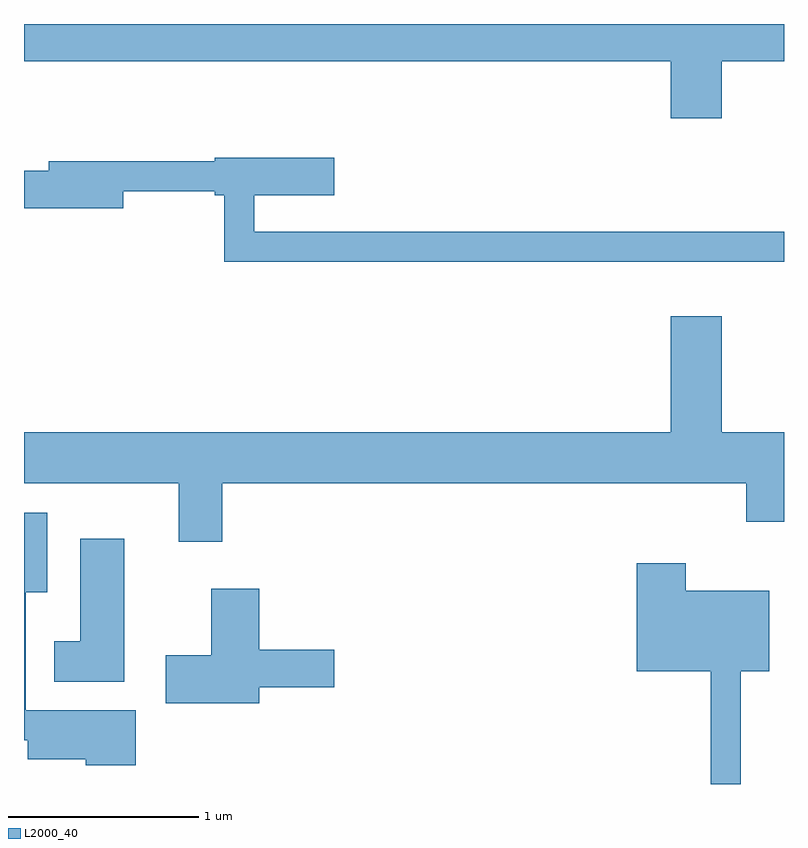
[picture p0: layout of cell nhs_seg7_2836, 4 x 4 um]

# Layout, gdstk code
import gdstk
lib = gdstk.Library(unit=1e-6, precision=1e-09)
def P(c, l, *ps):  # polygons
    for p in ps: c.add(gdstk.Polygon(p, *l))
L2000_40 = (2000, 40)

nhs_seg7_2836 = lib.new_cell('nhs_seg7_2836')
P(nhs_seg7_2836, L2000_40, [(275.284,1752.056),(275.611,1752.056),(275.611,1752.252),(271.611,1752.252),(271.611,1752.056),(275.016,1752.056),(275.016,1751.756),(275.284,1751.756)],
  [(275.611,1751.159),(272.824,1751.159),(272.824,1751.351),(273.244,1751.351),(273.244,1751.549),(272.616,1751.549),(272.616,1751.529),(271.741,1751.529),(271.741,1751.479),(271.611,1751.479),(271.611,1751.281),(272.134,1751.281),(272.134,1751.371),(272.616,1751.371),(272.616,1751.351),(272.666,1751.351),(272.666,1751.001),(275.611,1751.001)],
  [(272.654,1749.836),(275.411,1749.836),(275.411,1749.631),(275.611,1749.631),(275.611,1750.104),(275.284,1750.104),(275.284,1750.714),(275.016,1750.714),(275.016,1750.104),(271.611,1750.104),(271.611,1749.836),(272.426,1749.836),(272.426,1749.526),(272.654,1749.526)],
  [(272.199,1748.639),(271.619,1748.639),(271.619,1749.261),(271.734,1749.261),(271.734,1749.679),(271.611,1749.679),(271.611,1748.481),(271.631,1748.481),(271.631,1748.381),(271.936,1748.381),(271.936,1748.351),(272.199,1748.351)],
  [(272.139,1749.544),(271.906,1749.544),(271.906,1749.004),(271.771,1749.004),(271.771,1748.791),(272.139,1748.791)],
  [(275.384,1748.846),(275.534,1748.846),(275.534,1749.269),(275.094,1749.269),(275.094,1749.414),(274.836,1749.414),(274.836,1748.846),(275.226,1748.846),(275.226,1748.252),(275.384,1748.252)],
  [(272.849,1748.761),(273.244,1748.761),(273.244,1748.959),(272.849,1748.959),(272.849,1749.279),(272.596,1749.279),(272.596,1748.929),(272.356,1748.929),(272.356,1748.676),(272.849,1748.676)])

lib.write_gds('nhs_seg7_2836.gds')
